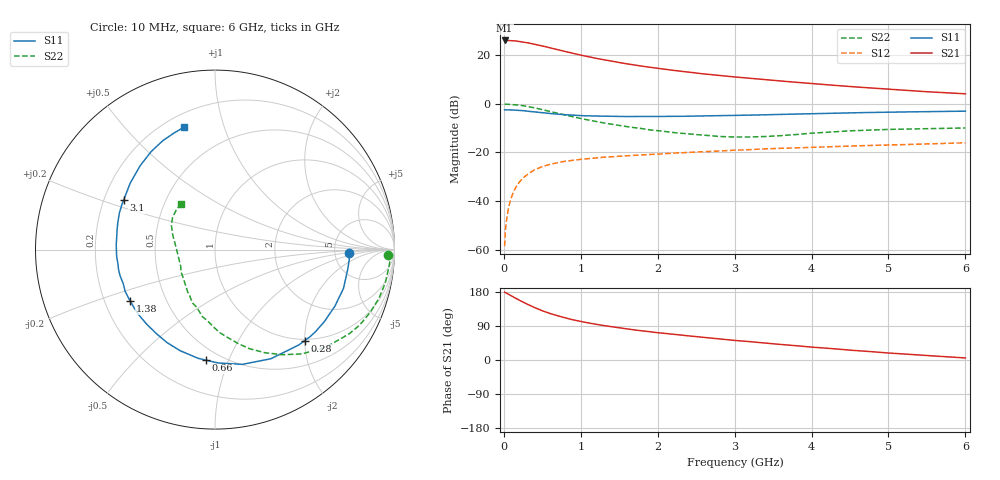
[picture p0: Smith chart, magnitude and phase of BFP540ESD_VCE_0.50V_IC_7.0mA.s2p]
! Infineon Technologies  Discrete & RF Semiconductors
! BFP540ESD
! VCE = 0.50 V,  IC =  7.0 mA
! Common Emitter S-Parameters:  Nov 2015
# GHz  S  MA  R  50
!  f  S11  S21  S12  S22
! GHz  MAG  ANG  MAG  ANG  MAG  ANG  MAG  ANG
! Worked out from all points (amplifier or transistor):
!   210 points, 10 MHz to 6 GHz, reference 50 ohm
!   highest |S21| = 25.9 dB at 10 MHz (marker M1)
!   |S21| within 3 dB of that: start of sweep to 597.1 MHz
!   unconditionally stable (mu >= 1): 3.013 GHz to end of sweep
!   at 185 MHz: K = 0.09, MSG = 29.2 dB, |S12| = -32.9 dB
!   at 1.52 GHz: K = 0.63, MSG = 19.1 dB, |S12| = -21.5 dB
!   at 6 GHz: K = 1.20, MAG = 7.4 dB, |S12| = -16.0 dB
!   S11 on the Smith chart (normalised r, x): 10 MHz: 6.82, -0.64; 280 MHz: 0.97, -2.00; 660 MHz: 0.42, -0.83; 1.38 GHz: 0.31, -0.25; 3.1 GHz: 0.28, +0.23; 6 GHz: 0.27, +0.74
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0.01  0.7462 -1.6  19.81 178.9  0.0012 88.3  0.9652 -1.7
0.03  0.749 -5.4  19.76 176.9  0.0036 89.3  0.977 -3.2
0.06  0.7465 -10.1  19.72 173.4  0.0071 85.1  0.9719 -6.6
0.15  0.7387 -25.1  19.4 163.4  0.0186 77.6  0.9529 -16.6
0.2  0.7299 -33.1  18.95 158.0  0.0245 74.4  0.9328 -22.0
0.28  0.7119 -45.5  18.11 149.7  0.0328 69.6  0.8933 -30.1
0.4  0.6832 -62.9  16.63 138.3  0.0442 61.9  0.8229 -41.4
0.5  0.6572 -76.6  15.35 129.9  0.0513 56.2  0.7574 -50.1
0.6  0.632 -88.4  13.99 122.7  0.0572 51.9  0.6944 -57.5
0.66  0.6182 -94.5  13.29 119.2  0.0601 49.7  0.6595 -61.4
0.8  0.5959 -109.0  11.74 110.8  0.0663 44.7  0.5848 -70.8
0.9  0.5829 -117.4  10.76 106.0  0.0692 42.3  0.5387 -76.2
1.02  0.5684 -126.5  9.765 100.9  0.0729 40.1  0.4902 -82.4
1.2  0.5592 -138.8  8.508 94.1  0.0775 36.9  0.4316 -91.0
1.38  0.5525 -148.8  7.545 88.4  0.0812 35.1  0.3846 -99.4
1.7  0.5486 -164.5  6.207 79.3  0.0873 32.0  0.3236 -112.5
2.02  0.5491 -176.7  5.256 71.7  0.0928 30.1  0.2788 -123.4
2.6  0.5616 164.9  4.085 59.5  0.1037 26.8  0.2273 -146.2
3.1  0.579 151.6  3.427 50.1  0.1128 24.1  0.2074 -166.1
4.1  0.6301 130.0  2.519 32.6  0.1289 17.6  0.2538 158.9
5.1  0.6751 114.4  1.939 17.2  0.1436 11.3  0.2989 141.0
6  0.7037 104.2  1.597 5.4  0.1579 6.6  0.3183 127.0
